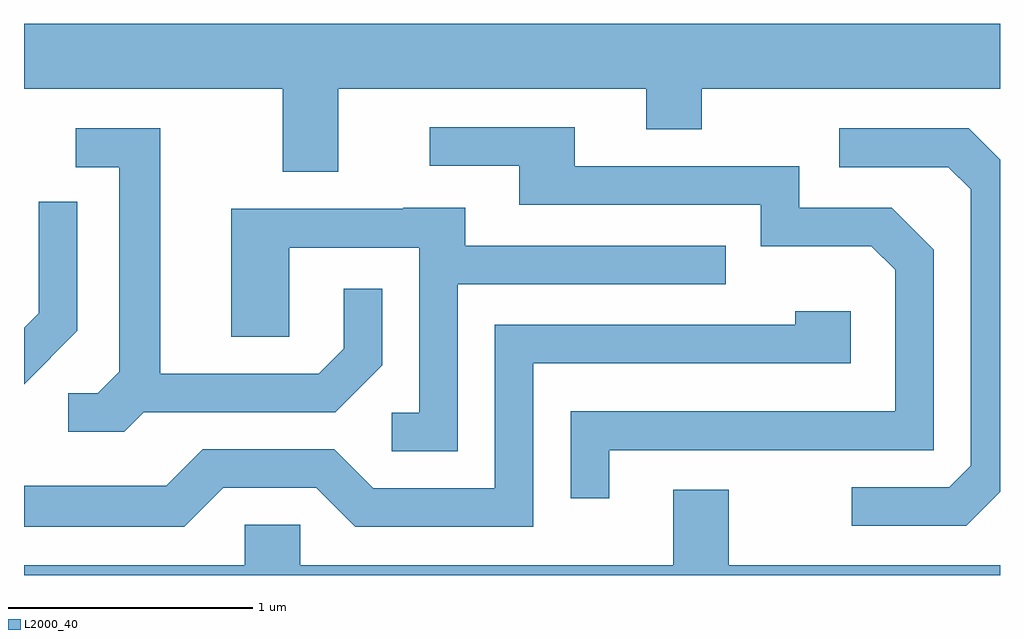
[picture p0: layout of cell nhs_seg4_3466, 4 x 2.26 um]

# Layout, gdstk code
import gdstk
lib = gdstk.Library(unit=1e-6, precision=1e-09)
def P(c, l, *ps):  # polygons
    for p in ps: c.add(gdstk.Polygon(p, *l))
L2000_40 = (2000, 40)

nhs_seg4_3466 = lib.new_cell('nhs_seg4_3466')
P(nhs_seg4_3466, L2000_40, [(286.899,1387.976),(288.161,1387.976),(288.161,1387.811),(288.389,1387.811),(288.389,1387.976),(289.611,1387.976),(289.611,1388.244),(285.611,1388.244),(285.611,1387.976),(286.671,1387.976),(286.671,1387.636),(286.899,1387.636)],
  [(288.009,1386.496),(289.339,1386.496),(289.339,1387.317),(289.167,1387.489),(288.789,1387.489),(288.789,1387.659),(287.869,1387.659),(287.869,1387.819),(287.273,1387.819),(287.273,1387.661),(287.641,1387.661),(287.641,1387.501),(288.631,1387.501),(288.631,1387.331),(289.084,1387.331),(289.181,1387.234),(289.181,1386.654),(287.851,1386.654),(287.851,1386.298),(288.009,1386.298)],
  [(286.102,1386.651),(286.887,1386.651),(287.079,1386.844),(287.079,1387.158),(286.921,1387.158),(286.921,1386.912),(286.819,1386.809),(286.169,1386.809),(286.169,1387.814),(285.823,1387.814),(285.823,1387.656),(286.001,1387.656),(286.001,1386.817),(285.914,1386.729),(285.793,1386.729),(285.793,1386.571),(286.022,1386.571)],
  [(289.611,1386.326),(289.611,1387.685),(289.482,1387.814),(288.953,1387.814),(288.953,1387.656),(289.399,1387.656),(289.491,1387.564),(289.491,1386.432),(289.404,1386.344),(289.003,1386.344),(289.003,1386.186),(289.472,1386.186)],
  [(285.829,1386.984),(285.829,1387.513),(285.671,1387.513),(285.671,1387.057),(285.611,1386.997),(285.611,1386.766)],
  [(287.389,1387.176),(288.488,1387.176),(288.488,1387.334),(287.419,1387.334),(287.419,1387.489),(287.165,1387.489),(287.165,1387.484),(286.461,1387.484),(286.461,1386.961),(286.699,1386.961),(286.699,1387.326),(287.231,1387.326),(287.231,1386.649),(287.118,1386.649),(287.118,1386.491),(287.389,1386.491)],
  [(286.427,1386.341),(286.809,1386.341),(286.969,1386.181),(287.699,1386.181),(287.699,1386.851),(288.999,1386.851),(288.999,1387.064),(288.771,1387.064),(288.771,1387.009),(287.541,1387.009),(287.541,1386.339),(287.042,1386.339),(286.882,1386.499),(286.344,1386.499),(286.194,1386.349),(285.611,1386.349),(285.611,1386.181),(286.267,1386.181)],
  [(289.611,1386.024),(288.499,1386.024),(288.499,1386.334),(288.271,1386.334),(288.271,1386.024),(286.744,1386.024),(286.744,1386.189),(286.516,1386.189),(286.516,1386.024),(285.611,1386.024),(285.611,1385.982),(289.611,1385.982)])

lib.write_gds('nhs_seg4_3466.gds')
